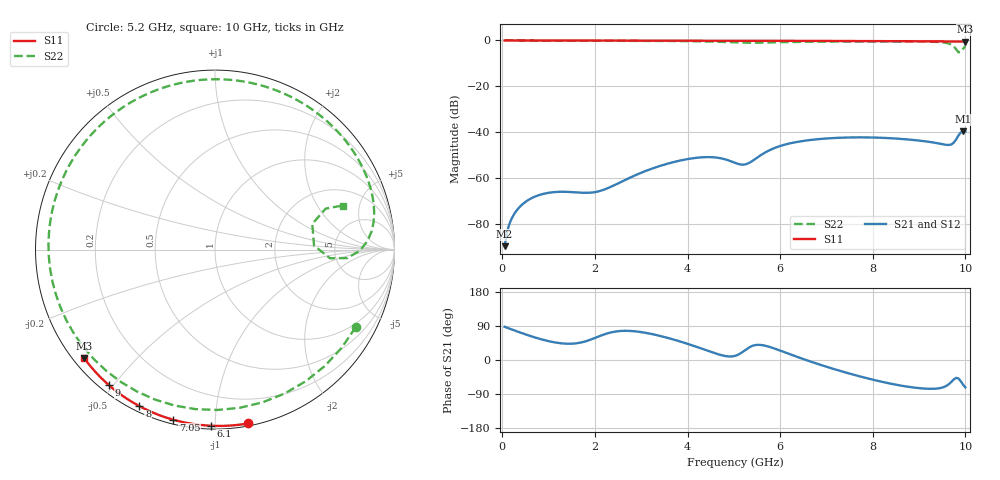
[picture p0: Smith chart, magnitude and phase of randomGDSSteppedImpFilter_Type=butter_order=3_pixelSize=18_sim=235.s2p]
! freq	dB(S11)	phase(S11)	dB(S12)	phase(S12)
!  dB(S21)	phase(S21)	dB(S22)	phase(S22)
!S-par simulation data
#  GHz  S  DB  R 50
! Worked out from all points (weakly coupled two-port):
!   200 points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, 50 MHz to 10 GHz, reference 50 ohm
!   highest |S21| = -39.71 dB at 9.95 GHz (marker M1); lowest = -89.8 dB at 50 MHz (marker M2)
!   lowest |S11| = -0.5 dB at 10 GHz (marker M3), VSWR 36.66, Z = 1.54 - j18 ohm
!   |S11| at or under -10 dB: nowhere
!   |S22| runs from -5.2 to 0.0 dB; largest |S21 - S12| = 0
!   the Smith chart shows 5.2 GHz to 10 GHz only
!   S11 on the Smith chart (normalised r, x): 5.2 GHz: 0.02, -1.21; 6.1 GHz: 0.02, -0.98; 7.05 GHz: 0.02, -0.78; 8 GHz: 0.02, -0.63; 9 GHz: 0.03, -0.49; 10 GHz: 0.03, -0.36
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0.05  -0.00 -0.8  -89.84 87.7  -89.84 87.7  -0.00 -3.9
0.9  -0.02 -14.6  -66.93 52.7  -66.93 52.7  -0.08 -66.1
1.75  -0.04 -28.1  -66.53 47.6  -66.53 47.6  -0.12 -118.6
2.6  -0.05 -41.3  -61.44 76.9  -61.44 76.9  -0.16 -163.3
3.4  -0.07 -53.4  -54.83 63.8  -54.83 63.8  -0.21 154.8
3.9  -0.08 -60.8  -52.19 46.6  -52.19 46.6  -0.29 124.1
4.4  -0.10 -68.0  -50.95 26.0  -50.95 26.0  -0.44 83.4
4.7  -0.11 -72.2  -51.38 13.8  -51.38 13.8  -0.61 49.6
5.05  -0.12 -77.1  -53.63 11.8  -53.63 11.8  -0.88 -2.8
5.2  -0.12 -79.2  -54.25 22.2  -54.25 22.2  -0.96 -28.9
5.4  -0.13 -82.0  -52.61 37.3  -52.61 37.3  -1.00 -64.2
5.6  -0.14 -84.7  -49.86 39.4  -49.86 39.4  -0.96 -97.0
6.1  -0.16 -91.4  -45.50 20.3  -45.50 20.3  -0.73 -159.4
6.7  -0.19 -99.3  -43.35 -5.9  -43.35 -5.9  -0.56 152.4
7.05  -0.21 -103.8  -42.74 -19.7  -42.74 -19.7  -0.51 131.0
8  -0.28 -115.8  -42.38 -51.9  -42.38 -51.9  -0.45 82.6
8.35  -0.31 -120.1  -42.65 -61.5  -42.65 -61.5  -0.44 66.5
9  -0.37 -128.1  -43.72 -74.3  -43.72 -74.3  -0.48 37.4
9.5  -0.42 -134.3  -45.28 -72.7  -45.28 -72.7  -0.82 12.8
9.75  -0.44 -137.3  -44.61 -51.1  -44.61 -51.1  -2.63 -3.6
9.95  -0.47 -139.8  -39.71 -65.1  -39.71 -65.1  -3.64 20.3
10  -0.47 -140.4  -39.82 -72.5  -39.82 -72.5  -2.46 19.0
